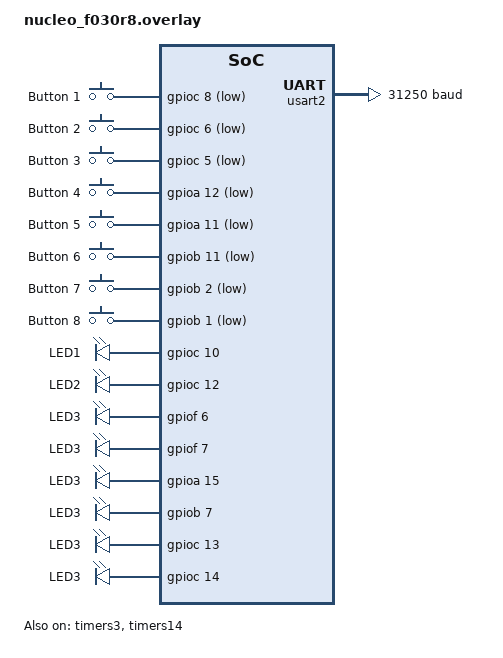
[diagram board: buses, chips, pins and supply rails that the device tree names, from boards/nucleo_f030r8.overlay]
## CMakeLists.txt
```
# SPDX-License-Identifier: Apache-2.0

cmake_minimum_required(VERSION 3.20.0)
find_package(Zephyr REQUIRED HINTS $ENV{ZEPHYR_BASE})
project(midi1_hybrid_test)

target_sources(app PRIVATE 
    src/main.c
)
```

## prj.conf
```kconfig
# SPDX-License-Identifier: Apache-2.0

# MIDI 1.0 Hybrid Test Application
CONFIG_LOG=y
CONFIG_BOOT_BANNER=y

# Driver support
CONFIG_MIDI1_SERIAL=y
CONFIG_MIDI1_CLOCK_CNTR=y

# TX Buffer size for the hybrid driver
CONFIG_MIDI1_SERIAL_TX_BUF_SIZE=128

# Footprint settings
CONFIG_IDLE_STACK_SIZE=256
CONFIG_ISR_STACK_SIZE=2048
CONFIG_MAIN_STACK_SIZE=1024
CONFIG_MIDI1_HARMONIC=y
```

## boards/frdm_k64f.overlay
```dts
/*
 * SPDX-License-Identifier: Apache-2.0
 */

/**
 * @file frdm_k64f.overlay
 * @brief overlay for this (older) NXP board
 * @note
 * it is using a MIDI arduino shield but I disconnected
 * the 5V and connected it to 3.3V instead to protect the MCU inputs.
 * I should lower the output and input from 220R resistors to 33R but it
 * seems to "work" on some interfaces without that in some shape or form.
 *
 * @author Jan-Willem Smaal <usenet@gispen.org>
 * @date 20260102
 */

/*
 * Classic MIDI1.0 over DIN5 plug
 */
&uart3 {
	status = "okay";
	/* Set it to the MIDI baud rate */
	current-speed = <31250>;
};


/ {
	midi0: midi0 {
                status = "okay";
                compatible = "midi1_serial";
                uart = <&uart3>;
        };

	midi1_clock_cntr_0: midi1_clock_cntr_0 {
		compatible = "midi1_clock_cntr";
		counter = <&pit0_channel0>;
		midi1_serial = <&midi0>;
		status = "okay";
	};
};

&pit0 {
	status = "okay";
};

&pit0_channel0 {
	status = "okay";
};


/* EOF */
```

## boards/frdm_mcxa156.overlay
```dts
/*
 * SPDX-License-Identifier: Apache-2.0
 */

/**
 * @file frdm_k64f.overlay
 * @brief overlay for this board from 2024
 * @note
 *
 * Using the MCXA156 the mikroBUS socket is used for lpuart1.
 *
 * @author Jan-Willem Smaal <usenet@gispen.org>
 * @date 20260102
 */

/*
 * Classic MIDI1.0 over DIN5 plug.
 * On the MCXA156 the mikroBUS socket J1 is on LPUART1
 */
&lpuart1 {
	status = "okay";
	/* Set it to the MIDI baud rate */
	current-speed = <31250>;
};

/* Enable two hardware CTIMERs for the clock generation and measurement */
&ctimer0 {
	status = "okay";
};

&ctimer1 {
	status = "okay";
};

/ {
	/* Existing UART mapping */
	midi0: midi0 {
		status = "okay";
		compatible = "midi1_serial";
		uart = <&lpuart1>;
	};	

	/* 1. MIDI Clock Generator Instance */
	midi1_clock_cntr_0: midi1_clock_cntr_0 {
		compatible = "midi1_clock_cntr";
		counter = <&ctimer0>;      /* Assign CTIMER0 to generate clock */
		midi1_serial = <&midi0>;   /* Link it to the UART TX */
		status = "okay";
	};

	/* 2. MIDI Clock Measurement Instance */
	midi1_clock_meas_cntr_0: midi1_clock_meas_cntr_0 {
		compatible = "midi1_clock_meas_cntr";
		counter = <&ctimer1>;      /* Assign CTIMER1 to measure incoming clock */
		status = "okay";
	};
};
```

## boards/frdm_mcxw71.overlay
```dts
/*
 * SPDX-License-Identifier: Apache-2.0
 */

/**
 * @file frdm_mcxw71.overlay
 * @brief Overlay for MIDI 1.0 Hybrid Test on FRDM-MCXW71
 * 
 * MIDI Serial: LPUART0 (Arduino Header D0/D1)
 * MIDI Clock: LPIT0 Channel 0
 * MIDI Measurement: LPIT0 Channel 1
 */

&lpuart0 {
	status = "okay";
	current-speed = <31250>;
};

&lpit0 {
	status = "okay";
};

&lpit1_channel0 {
	status = "okay";
};

&lpit1_channel1 {
	status = "okay";
};

/ {
	midi0: midi0 {
		status = "okay";
		compatible = "midi1_serial";
		uart = <&lpuart0>;
	};

	midi1_clock_cntr_0: midi1_clock_cntr_0 {
		compatible = "midi1_clock_cntr";
		counter = <&lpit1_channel0>;
		midi1_serial = <&midi0>;
		status = "okay";
	};

	midi1_clock_meas_cntr_0: midi1_clock_meas_cntr_0 {
		compatible = "midi1_clock_meas_cntr";
		counter = <&lpit1_channel1>;
		status = "okay";
	};
};
```

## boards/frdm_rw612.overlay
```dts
/*
 * SPDX-License-Identifier: Apache-2.0
 */

/**
 * Device tree overlay created for the FRDM_RW612 development kit
 * adjusted the pinmux so that we can use it for MIDI out and in.
 * @author Jan-Willem Smaal <usenet@gispen.org>
 * @date 20241223
 * updated in 20260206
 */
 
 /* Let's make sure both are enabled and act in the same way as the pit0 */
&ctimer0 {
	status = "okay";
	/* Divide 260 MHz by 4 → 24 MHz timer */
	prescale = <11>;
};
&ctimer1 {
	status = "okay";
	/* Divide 260 MHz by 4 → 24 MHz timer */
	prescale = <11>;
};

/* 
 * Configured with the MIDI BAUD rate of 31250 
 * This is the USART on the MIDI arduino shield. 
 * GPIO 8 and 9. 
 */
&flexcomm1 {
	compatible = "nxp,lpc-usart";
	status = "okay";
	current-speed = <31250>;
	pinctrl-0 = <&pinmux_flexcomm1_usart>;
	pinctrl-names = "default";
};

/* 
 * We want to set flexcomm1 to USART instead of the default. 
 * this is why we need to set the pinmux here. 
 */
&pinctrl {
	pinmux_flexcomm1_usart: pinmux_flexcomm1_usart {
		group0 {
			pinmux = <IO_MUX_FC1_USART_DATA>;
			slew-rate = "normal";
		};
	};
};

/ {
	aliases {
		counterch0 = &ctimer0;
		counterch1 = &ctimer1;
	};
	/* MIDI1.0 serial USART driver, set the uart baud to 31250. */
	midi0: midi0 {
		status = "okay";
		compatible = "midi1_serial";
		uart = <&flexcomm1>;
	};
	/* MIDI1.0 clock generator for SERIAL MIDI1.0 */
	midi1_clock_cntr: midi1_clock_cntr {
		status = "okay";
		compatible = "midi1_clock_cntr";
		counter = <&ctimer0>;
		midi1_serial = <&midi0>;
	};
	/* MIDI1.0 clock measurement system using the Zephyr timer */
	midi1_clock_meas_cntr: midi1_clock_meas_cntr {
		status = "okay";
		compatible = "midi1_clock_meas_cntr";
		counter = <&ctimer1>;
	};
	/* Zephyr USB MIDI2.0 driver */ 
	usb_midi: usb_midi {
		compatible = "zephyr,midi2-device";
		status = "okay";
		#address-cells = <1>;
		#size-cells = <1>;
		label = "Zephyr USB-MIDI";

		midi_in_out@0 {
			reg = <0 1>;
			protocol = "midi1-up-to-128b";
			label = "MIDI-IN-OUT";
		};
	};
};

/* EOF */
```

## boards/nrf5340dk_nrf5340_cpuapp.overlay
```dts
/*
 * SPDX-License-Identifier: Apache-2.0
 */

/**
 * @file nrf5340dk_nrf5340_cpuapp.overlay
 * @brief Overlay for MIDI 1.0 Hybrid Test on nRF5340 DK
 * 
 * MIDI Serial: UART1 (Standard Arduino Header D0/D1)
 * MIDI Clock: TIMER0
 * MIDI Measurement: TIMER1
 */

&uart1 {
	status = "okay";
	current-speed = <31250>;
	pinctrl-0 = <&uart1_default>;
	pinctrl-1 = <&uart1_sleep>;
	pinctrl-names = "default", "sleep";
};

&timer0 {
	status = "okay";
};

&timer1 {
	status = "okay";
};

/ {
	midi0: midi0 {
		status = "okay";
		compatible = "midi1_serial";
		uart = <&uart1>;
	};

	midi1_clock_cntr_0: midi1_clock_cntr_0 {
		compatible = "midi1_clock_cntr";
		counter = <&timer0>;
		midi1_serial = <&midi0>;
		status = "okay";
	};

	midi1_clock_meas_cntr_0: midi1_clock_meas_cntr_0 {
		compatible = "midi1_clock_meas_cntr";
		counter = <&timer1>;
		status = "okay";
	};
};
```

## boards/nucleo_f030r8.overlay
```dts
/*
 * Overlay for the KORG NTS-1 custom board. 
 * created for zephyr by Jan-Willem Smaal 20250116
 */

&leds {
	compatible = "gpio-leds";
	ld1: ld_1 {
		gpios = < &gpioc 10 0x0 >;
		label = "LED1";
	};
	ld2: ld_2 {
		gpios = < &gpioc 12 0x0 >;
		label = "LED2";
	};
	ld3: ld_3 {
		gpios = < &gpiof 6 0x0 >;
		label = "LED3";
	};
	ld4: ld_4 {
		gpios = < &gpiof 7 0x0 >;
		label = "LED3";
	};
	ld5: ld_5 {
		gpios = < &gpioa 15 0x0 >;
		label = "LED3";
	};
	ld6: ld_6 {
		gpios = < &gpiob 7 0x0 >;
		label = "LED3";
	};
	ld7: ld_7 {
		gpios = < &gpioc 13 0x0 >;
		label = "LED3";
	};
	ld8: ld_8 {
		gpios = < &gpioc 14 0x0 >;
		label = "LED3";
	};
};

/ {
	buttons {
		compatible = "gpio-keys";
		sw1: sw_1 {
			gpios = <&gpioc 8 (GPIO_PULL_UP | GPIO_ACTIVE_LOW)>;
			label = "Button 1"; 
		};
		sw2: sw_2 {
			gpios = <&gpioc 6 (GPIO_PULL_UP | GPIO_ACTIVE_LOW)>;
			label = "Button 2"; 
		};
		sw3: sw_3 {
			gpios = <&gpioc 5 (GPIO_PULL_UP | GPIO_ACTIVE_LOW)>;
			label = "Button 3"; 
		};
		sw4: sw_4 {
			gpios = <&gpioa 12 (GPIO_PULL_UP | GPIO_ACTIVE_LOW)>;
			label = "Button 4"; 
		};
		sw5: sw_5 {
			gpios = <&gpioa 11 (GPIO_PULL_UP | GPIO_ACTIVE_LOW)>;
			label = "Button 5"; 
		};
		sw6: sw_6 {
			gpios = <&gpiob 11 (GPIO_PULL_UP | GPIO_ACTIVE_LOW)>;
			label = "Button 6"; 
		};
		sw7: sw_7 {
			gpios = <&gpiob 2 (GPIO_PULL_UP | GPIO_ACTIVE_LOW)>;
			label = "Button 7"; 
		};
		sw8: sw_8 {
			gpios = <&gpiob 1 (GPIO_PULL_UP | GPIO_ACTIVE_LOW)>;
			label = "Button 8"; 
		};  
	};

	aliases {
		sw0  = &sw8;
		sw1  = &sw1;
		sw2  = &sw2;
		sw3  = &sw3;
		sw4  = &sw4;
		sw5  = &sw5;
		sw6  = &sw6;
		sw7  = &sw7;
		sw8  = &sw8;
		led0 = &ld8;
		led1 = &ld1;
		led2 = &ld2;
		led3 = &ld3;
		led4 = &ld4;
		led5 = &ld5;
		led6 = &ld6;
		led7 = &ld7;
		led8 = &ld8;
	};

	/* MIDI1.0 Serial Configuration - Moved to USART2 (ST-Link VCOM) */
	midi0: midi0 {
		status = "okay";
		compatible = "midi1_serial";
		uart = <&usart2>;
	};

	/* MIDI1.0 Clock Generator */
	midi1_clock_cntr_0: midi1_clock_cntr_0 {
		compatible = "midi1_clock_cntr";
		counter = <&timers3_counter>;
		midi1_serial = <&midi0>;
		status = "okay";
	};

	/* MIDI1.0 Clock Measurement */
	midi1_clock_meas_cntr_0: midi1_clock_meas_cntr_0 {
		compatible = "midi1_clock_meas_cntr";
		counter = <&timers14_counter>;
		status = "okay";
	};
};

/* MIDI USART configuration on PA2/PA3 (ST-Link Virtual COM Port) */
&usart2 {
	status = "okay";
	current-speed = <31250>;
};

/* Enable hardware timers as counters for MIDI timing */
&timers3 {
	status = "okay";
	st,prescaler = <1000>;
	timers3_counter: counter {
		status = "okay";
	};
};

&timers14 {
	status = "okay";
	st,prescaler = <1000>;
	timers14_counter: counter {
		status = "okay";
	};
};
```

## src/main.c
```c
/*
 * SPDX-License-Identifier: Apache-2.0
 */

/**
 * @file main.c
 * @brief MIDI 1.0 Hybrid Test Sample Application
 *
 * This sample combines the MIDI 1.0 Clock Generator and the MIDI 1.0
 * Serial Driver to demonstrate the "Safe Hybrid" TX architecture.
 *
 * It generates a 120 BPM clock using the hardware counter driver while
 * simultaneously sending various MIDI messages (Notes and CC) from a
 * background thread.
 */

#include <zephyr/kernel.h>
#include <zephyr/device.h>
#include <zephyr/drivers/midi/midi1.h>
#include <zephyr/drivers/midi/midi1_serial.h>
#include <zephyr/drivers/midi/midi1_clock_cntr.h>
#include <zephyr/logging/log.h>

LOG_MODULE_REGISTER(midi1_hybrid_test, LOG_LEVEL_INF);

/* 120.00 BPM scaled by 100 */
#define TARGET_BPM 12000

/* Note table for a simple melody */
static const uint8_t melody[] = {60, 62, 64, 65, 67, 69, 71, 72};

/* Minus -1 because MIDI channel 1 = 0 */
#define MY_MIDI1_CHAN (CONFIG_MIDI1_SERIAL_CHANNEL - 1)

int main(void)
{
	const struct device *midi_serial = DEVICE_DT_GET(DT_NODELABEL(midi0));
	const struct device *midi_clock = DEVICE_DT_GET_ANY(midi1_clock_cntr);
	char bpm_str[16];

	if (!device_is_ready(midi_serial)) {
		LOG_ERR("Serial MIDI device midi0 not ready");
		return -ENODEV;
	}

	if (midi_clock == NULL || !device_is_ready(midi_clock)) {
		LOG_ERR("MIDI clock counter device not ready");
		return -ENODEV;
	}

	sbpm_to_str(TARGET_BPM, bpm_str, sizeof(bpm_str));
	LOG_INF("Starting Hybrid MIDI Test: Clock at %s BPM", bpm_str);

	/*
	 * 1. Start the hardware-timed MIDI Clock.
	 * This uses the 'midi1_serial_timingclock' inside the driver's
	 * internal Timer ISR, which bypasses the software buffer.
	 */
	midi1_clock_cntr_gen(midi_clock, TARGET_BPM);

	/*
	 * 2. Start looping through MIDI messages.
	 * These are buffered and sent via interrupts, ensuring the CPU
	 * is free to handle the timing-critical clock pulses.
	 */
	LOG_INF("Sending notes and CC messages in a loop...");

	while (1) {
		/* CC sweep (simulating continuous controller data) */
		for (uint8_t i = 0; i < 127; i++) {
			midi1_serial_control_change(midi_serial, MY_MIDI1_CHAN, CTL_MSB_MODWHEEL,
						    i);
			k_sleep(K_MSEC(10));
		}

		/* Melody sweep */
		for (int i = 0; i < sizeof(melody); i++) {
			midi1_serial_note_on(midi_serial, MY_MIDI1_CHAN, melody[i], 100);
			k_sleep(K_MSEC(250));
			midi1_serial_note_off(midi_serial, MY_MIDI1_CHAN, melody[i], 0);
			k_sleep(K_MSEC(50));
		}

		LOG_INF("Melody loop complete. Repeating...");
	}

	return 0;
}
```

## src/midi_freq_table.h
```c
/*
 * SPDX-License-Identifier: Apache-2.0
 */

/**
 * @file midi_freq_table.h
 * Precomputed frequencies for MIDI notes 0–127
 * used for embedded systems.  Based op A4 = 440Hz.
 * used by "note.h  / note.c" for the noteToFreq() function 
 *
 * @author Jan-Willem Smaal <usenet@gispen.org>
 */
#ifndef MIDI_FREQ_TABLE_H
#define MIDI_FREQ_TABLE_H

#include <stdint.h>

/* Base frequency for A4 (MIDI note 69) */
#define BASE_A4_NOTE_FREQ 440.0f

/* Precomputed frequencies for MIDI notes 0–127 (C-1 to G9) */
static const float midi_freq_table[128] = {
#include "midi_freq_table.inc"
};

#endif                          /* MIDI_FREQ_TABLE_H */
```

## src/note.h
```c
/*
 * SPDX-License-Identifier: Apache-2.0
 */

/**
 * @file note.h 
 * 
 * @brief generic MIDI and harmony related functions 
 * implemented in support of embedded systems in c. 
 * tested on Zephyr RTOS.
 * TODO: update from C++ coding style back to C.
 * TODO: e.g. 'noteToText' should be renamed to 'note_to_text'
 *
 * @author Jan-Willem Smaal <usenet@gispen.org> 
 * @updated 20241224
 */
#ifndef NOTE_H
#define NOTE_H
#include <stdio.h>
#include <stdint.h>
#include <stdbool.h>
#include <string.h>

/*
 * Pre computed values for the note frequencies
 */
#include "midi_freq_table.h"

/* 440 Hz for the A4 note */
#define BASE_A4_NOTE_FREQUENCY 440

/**
 * @brief converts a MIDI note using a lookup table to a string
 *
 * @param @midinote in MIDI format (limited to 0 -> 127)
 * @param flats represent not in flats or sharps (default)
 * @return char note in text format e.g. Db
 */
const char *noteToText(uint8_t midinote, bool flats);

/**
 * @brief convert note to text with octave
 * @param midinote in MIDI format (limited to 0 -> 127)
 * @return char note in text format e.g. Db3
 */
const char *noteToTextWithOctave(uint8_t midinote, bool flats);

/**
 * @brief note to octave
 * @param midinote in MIDI format (limited to 0 -> 127)
 * @return octave e.g. -3 or 4
 */
int noteToOct(uint8_t midinote);

#if TODO_USING_MATH
float noteToFreq(uint8_t midinote, int base_a4_note_freq);
#endif

/**
 * @brief converts note to frequency using lookup table
 * @param midinote in MIDI format (limited to 0 -> 127)
 * @return frequency referenceded to A440
 */
float noteToFreq(uint8_t midinote);

/**
 * @brief converts frequency to MIDI note approximate
 * @param frequency referenceded to A440
 * @return midinote in MIDI format (limited to 0 -> 127)
 */
uint8_t freqToMidiNote(float freq);

#endif                          /* NOTE_H */
/* EOF */
```
